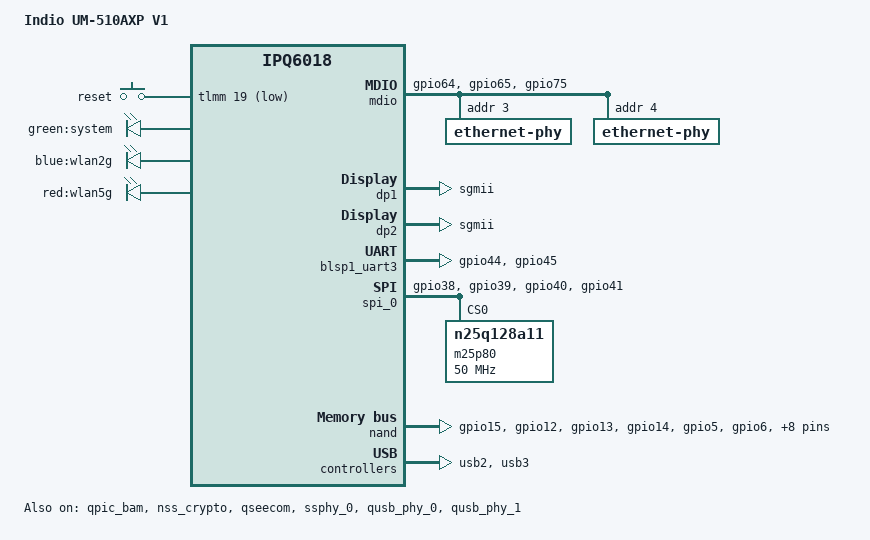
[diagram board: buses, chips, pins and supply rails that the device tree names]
// SPDX-License-Identifier: GPL-2.0-or-later OR MIT
/dts-v1/;

#include "qcom-ipq6018.dtsi"
#include "qcom-ipq6018-rpm-regulator.dtsi"
#include "qcom-ipq6018-cpr-regulator.dtsi"
#include "qcom-ipq6018-cp-cpu.dtsi"
#include <dt-bindings/input/input.h>
#include <dt-bindings/gpio/gpio.h>

/ {
	model = "Indio UM-510AXP V1";
	compatible = "indio,um-510axp-v1", "qcom,ipq6018-cp03", "qcom,ipq6018";

	#address-cells = <0x2>;
	#size-cells = <0x2>;
	interrupt-parent = <&intc>;

	aliases {
		/* Aliases as required by u-boot to patch MAC addresses */
		ethernet0 = "/soc/dp2";
		ethernet1 = "/soc/dp1";

		serial0 = &blsp1_uart3;
		serial1 = &blsp1_uart2;

		led-boot = &led_system;
		led-failsafe = &led_system;
		led-running = &led_system;
		led-upgrade = &led_system;
	};

	chosen {
		bootargs = "console=ttyMSM0,115200,n8 rw init=/init";
		bootargs-append = " swiotlb=1 coherent_pool=2M";
	};

/* TZAPP is enabled only in default memory profile */
#if !defined(__IPQ_MEM_PROFILE_256_MB__) && !defined(__IPQ_MEM_PROFILE_512_MB__)
	reserved-memory {
		tzapp:tzapp@49B00000 {	/* TZAPPS */
			no-map;
			reg = <0x0 0x49B00000 0x0 0x00600000>;
		};
	};
#endif
};

&tlmm {
	uart_pins: uart_pins {
		mux {
			pins = "gpio44", "gpio45";
			function = "blsp2_uart";
			drive-strength = <8>;
			bias-pull-down;
		};
	};

	spi_0_pins: spi_0_pins {
		mux {
			pins = "gpio38", "gpio39", "gpio40", "gpio41";
			function = "blsp0_spi";
			drive-strength = <8>;
			bias-pull-down;
		};
	};

	qpic_pins: qpic_pins {
		data_0 {
			pins = "gpio15";
			function = "qpic_pad0";
			drive-strength = <8>;
			bias-pull-down;
		};

		data_1 {
			pins = "gpio12";
			function = "qpic_pad1";
			drive-strength = <8>;
			bias-pull-down;
		};

		data_2 {
			pins = "gpio13";
			function = "qpic_pad2";
			drive-strength = <8>;
			bias-pull-down;
		};

		data_3 {
			pins = "gpio14";
			function = "qpic_pad3";
			drive-strength = <8>;
			bias-pull-down;
		};

		data_4 {
			pins = "gpio5";
			function = "qpic_pad4";
			drive-strength = <8>;
			bias-pull-down;
		};

		data_5 {
			pins = "gpio6";
			function = "qpic_pad5";
			drive-strength = <8>;
			bias-pull-down;
		};

		data_6 {
			pins = "gpio7";
			function = "qpic_pad6";
			drive-strength = <8>;
			bias-pull-down;
		};

		data_7 {
			pins = "gpio8";
			function = "qpic_pad7";
			drive-strength = <8>;
			bias-pull-down;
		};

		qpic_pad {
			pins = "gpio1",  "gpio3",  "gpio4",
			       "gpio10", "gpio11", "gpio17";
			function = "qpic_pad";
			drive-strength = <8>;
			bias-pull-down;
		};
	};

	button_pins: button_pins {
		rst_button {
			pins = "gpio19";
			function = "gpio";
			drive-strength = <8>;
			bias-pull-up;
		};
	};

	mdio_pins: mdio_pinmux {
		mux_0 {
			pins = "gpio64";
			function = "mdc";
			drive-strength = <8>;
			bias-pull-up;
		};

		mux_1 {
			pins = "gpio65";
			function = "mdio";
			drive-strength = <8>;
			bias-pull-up;
		};

		mux_2 {
			pins = "gpio75";
			function = "gpio";
			bias-pull-up;
		};
	};

	modem_power_pins {
		mux {
			pins = "gpio27";
			function = "gpio";
			drive-strength = <8>;
			bias-pull-down;
			output-high;
		};
	};

	leds_pins: leds_pins {
		led_blue {
			pins = "gpio35";
			function = "gpio";
			drive-strength = <2>;
			bias-pull-down;
		};

		led_green {
			pins = "gpio37";
			function = "gpio";
			drive-strength = <2>;
			bias-pull-down;
		};

		led_red {
			pins = "gpio32";
			function = "gpio";
			drive-strength = <2>;
			bias-pull-down;
		};
	};
};

&soc {
	mdio: mdio@90000 {
		status = "ok";

		pinctrl-0 = <&mdio_pins>;
		pinctrl-names = "default";
		phy-reset-gpio = <&tlmm 75 0>;

		ethernet-phy@0 {
			reg = <0x03>;
		};

		ethernet-phy@1 {
			reg = <0x04>;
		};
	};

	ess-switch@3a000000 {
		switch_cpu_bmp =   <0x01>; /* cpu port bitmap */
		switch_lan_bmp =   <0x10>; /* lan port bitmap */
		switch_wan_bmp =   <0x20>; /* wan port bitmap */
		switch_inner_bmp = <0x80>; /*inner port bitmap*/
		switch_mac_mode =  <0x00>; /* mac mode for uniphy instance0*/
		switch_mac_mode1 = <0xff>; /* mac mode for uniphy instance1*/
		switch_mac_mode2 = <0xff>; /* mac mode for uniphy instance2*/

		qcom,port_phyinfo {
			port@3 {
				port_id = <0x04>;
				phy_address = <0x03>;
			};

			port@4 {
				port_id = <0x05>;
				phy_address = <0x04>;
			};
		};
	};

	dp1 {
		device_type = "network";
		compatible = "qcom,nss-dp";
		qcom,id = <0x04>;
		reg = <0x3a001600 0x200>;
		qcom,mactype = <0x00>;
		local-mac-address = [00 00 00 00 00 00];
		qcom,link-poll = <0x01>;
		qcom,phy-mdio-addr = <0x03>;
		phy-mode = "sgmii";
	};

	dp2 {
		device_type = "network";
		compatible = "qcom,nss-dp";
		qcom,id = <0x05>;
		reg = <0x3a001800 0x200>;
		qcom,mactype = <0x00>;
		local-mac-address = [00 00 00 00 00 00];
		qcom,link-poll = <0x01>;
		qcom,phy-mdio-addr = <0x04>;
		phy-mode = "sgmii";
	};

	gpio_keys {
		compatible = "gpio-keys";

		pinctrl-0 = <&button_pins>;
		pinctrl-names = "default";

		reset {
			label = "reset";
			linux,code = <KEY_RESTART>;
			gpios = <&tlmm 19 GPIO_ACTIVE_LOW>;
			linux,input-type = <1>;
			debounce-interval = <60>;
		};
	};

	leds {
		compatible = "gpio-leds";

		pinctrl-0 = <&leds_pins>;
		pinctrl-names = "default";

		led_system: system {
			label = "green:system";
			gpio = <&tlmm 37 GPIO_ACTIVE_HIGH>;
		};

		wlan2g {
			label = "blue:wlan2g";
			gpio = <&tlmm 35 GPIO_ACTIVE_HIGH>;
		};

		wlan5g {
			label = "red:wlan5g";
			gpio = <&tlmm 32 GPIO_ACTIVE_HIGH>;
		};
	};
};

&blsp1_uart3 {
	pinctrl-0 = <&uart_pins>;
	pinctrl-names = "default";
	status = "ok";
};

&spi_0 {
	pinctrl-0 = <&spi_0_pins>;
	pinctrl-names = "default";
	cs-select = <0>;
	status = "ok";

	m25p80@0 {
		#address-cells = <1>;
		#size-cells = <1>;
		reg = <0>;
		compatible = "n25q128a11";
		linux,modalias = "m25p80", "n25q128a11";
		spi-max-frequency = <50000000>;
		use-default-sizes;
	};
};

&qpic_bam {
	status = "ok";
};

&nand {
	pinctrl-0 = <&qpic_pins>;
	pinctrl-names = "default";
	status = "ok";
};

&nss_crypto {
	status = "ok";
};

&cpu0_opp_table {
	compatible = "operating-points-v2";
	opp-shared;

	opp03 {
		opp-hz = /bits/ 64 <1200000000>;
		opp-microvolt = <3>;
		clock-latency-ns = <200000>;
	};

	/delete-node/ opp04;
	/delete-node/ opp05;
	/delete-node/ opp06;
};

/* TZAPP is enabled in default memory profile only */
#if !defined(__IPQ_MEM_PROFILE_256_MB__) && !defined(__IPQ_MEM_PROFILE_512_MB__)
&qseecom {
	mem-start = <0x49B00000>;
	mem-size = <0x600000>;
	status = "ok";
};
#endif

&ssphy_0 {
	status = "ok";
};

&qusb_phy_0 {
	status = "ok";
};

&qusb_phy_1 {
	status = "ok";
};

&usb2 {
	status = "ok";
};

&usb3 {
	status = "ok";
};
